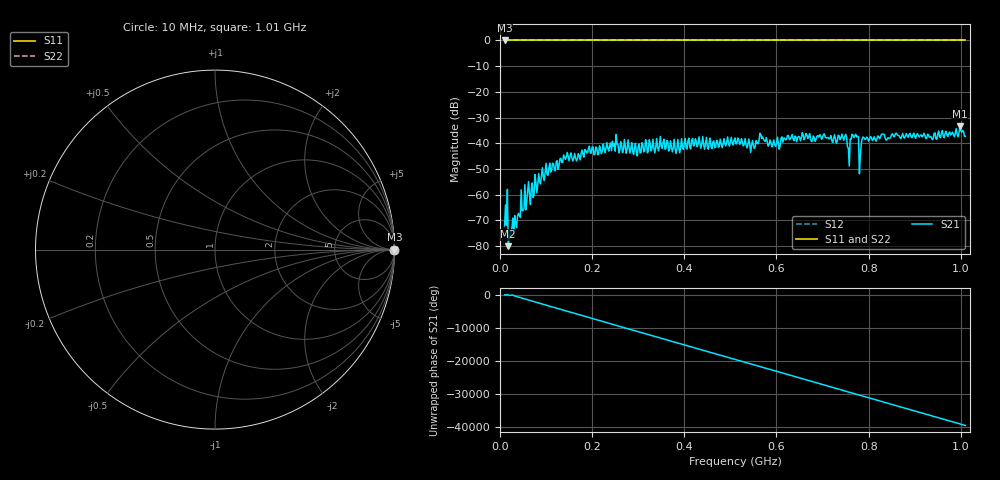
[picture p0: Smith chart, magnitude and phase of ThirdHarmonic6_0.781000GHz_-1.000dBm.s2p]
! 8/16/2025 2:04:49 AM
! C:\ANRITSUVNA\TEMP\TEMP.S2P
! CHANNEL.1
! TR.MEASUREMENT
! RAW.DATA
! RF.CORRECTION.OFF
! AVERAGING.OFF
! IF.BANDWIDTH: 5KHZ
! SWEEPTYPE:  FREQ.SWEEP(Linear)
! Reference Plane Port Info
! PORT:  PORT1  PORT2
! DISTANCE:  0  m  0  m
! TIME:  0  s  0  s
! PHASE.OFFSET:  0  deg.  0  deg.
! LOSS:  0  dB  0  dB
! REF.LOSS:  0  dB  0  dB
! REF.FREQ:  0  Hz  0  Hz
! Power Info
! POWER:  -20  dBm  -20  dBm
! EFF.POWER:  -20  dBm  -20  dBm
! SOURCE.ATTEN:  0  dB  0  dB
! TEST.ATTEN:  0  dB  0  dB
# GHZ S RI R 50.0
! FREQ.GHZ  S11RE  S11IM  S21RE  S21IM  S12RE  S12IM  S22RE  S22IM
!; PortSelection: Port_12
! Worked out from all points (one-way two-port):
!   501 points, 10 MHz to 1.01 GHz, reference 50 ohm
!   highest |S21| = -33.46 dB at 998 MHz (marker M1); lowest = -80.1 dB at 18 MHz (marker M2)
!   lowest |S11| = 0.0 dB at 10 MHz (marker M3)
!   |S11| at or under -10 dB: nowhere
!   |S22| runs from 0.0 to 0.0 dB; largest |S21 - S12| = 1
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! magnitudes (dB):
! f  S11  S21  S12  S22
! 10 MHz  0.0  -72.2  0.0  0.0
! 12 MHz  0.0  -64.0  0.0  0.0
! 18 MHz  0.0  -80.1  0.0  0.0
! 22 MHz  0.0  -76.3  0.0  0.0
! 58 MHz  0.0  -62.7  0.0  0.0
! 70 MHz  0.0  -55.5  0.0  0.0
! 96 MHz  0.0  -54.5  0.0  0.0
! 142 MHz  0.0  -46.3  0.0  0.0
! 178 MHz  0.0  -42.7  0.0  0.0
! 248 MHz  0.0  -40.1  0.0  0.0
! 294 MHz  0.0  -40.0  0.0  0.0
! 344 MHz  0.0  -43.0  0.0  0.0
! 510 MHz  0.0  -38.0  0.0  0.0
! 678 MHz  0.0  -39.1  0.0  0.0
! 746 MHz  0.0  -38.9  0.0  0.0
! 758 MHz  0.0  -48.9  0.0  0.0
! 768 MHz  0.0  -37.8  0.0  0.0
! 784 MHz  0.0  -40.3  0.0  0.0
! 790 MHz  0.0  -37.9  0.0  0.0
! 844 MHz  0.0  -38.1  0.0  0.0
! 998 MHz  0.0  -33.5  0.0  0.0
! 1.01 GHz  0.0  -37.3  0.0  0.0
